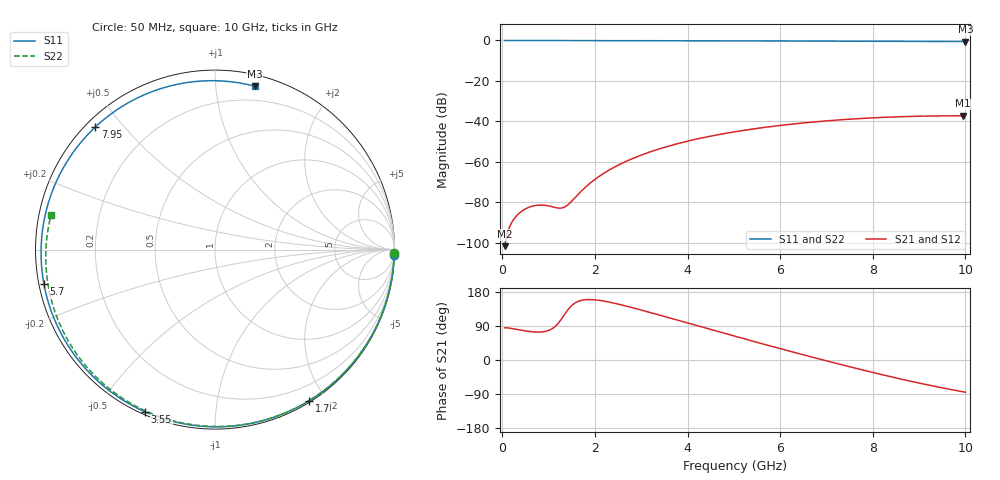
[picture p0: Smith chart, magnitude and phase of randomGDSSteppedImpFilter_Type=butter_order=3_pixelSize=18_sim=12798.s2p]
! freq	dB(S11)	phase(S11)	dB(S12)	phase(S12)
!  dB(S21)	phase(S21)	dB(S22)	phase(S22)
!S-par simulation data
#  GHz  S  DB  R 50
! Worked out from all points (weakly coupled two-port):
!   200 points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, 50 MHz to 10 GHz, reference 50 ohm
!   highest |S21| = -37.27 dB at 9.95 GHz (marker M1); lowest = -101.8 dB at 50 MHz (marker M2)
!   lowest |S11| = -0.6 dB at 10 GHz (marker M3), VSWR 30.80, Z = 4.24 + j63.4 ohm
!   |S11| at or under -10 dB: nowhere
!   |S22| runs from -0.6 to 0.0 dB; largest |S21 - S12| = 0
!   S11 on the Smith chart (normalised r, x): 50 MHz: 2, -67; 1.7 GHz: 0.02, -1.80; 3.55 GHz: 0.01, -0.66; 5.7 GHz: 0.01, -0.10; 7.95 GHz: 0.03, +0.42; 10 GHz: 0.08, +1.27
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0.05  -0.01 -1.7  -101.78 84.8  -101.78 84.8  -0.00 -1.1
0.7  -0.03 -24.5  -81.73 74.0  -81.73 74.0  -0.02 -15.5
1.45  -0.06 -50.0  -80.65 137.5  -80.65 137.5  -0.04 -31.8
1.5  -0.06 -51.6  -79.51 143.8  -79.51 143.8  -0.04 -32.9
1.7  -0.07 -58.2  -74.70 157.1  -74.70 157.1  -0.05 -37.2
1.75  -0.07 -59.8  -73.59 158.3  -73.59 158.3  -0.05 -38.2
2.05  -0.08 -69.3  -67.91 158.1  -67.91 158.1  -0.06 -44.6
2.45  -0.10 -81.6  -62.31 149.0  -62.31 149.0  -0.07 -52.9
2.9  -0.11 -95.0  -57.61 135.1  -57.61 135.1  -0.08 -62.1
3.4  -0.13 -109.2  -53.58 118.3  -53.58 118.3  -0.09 -72.0
3.55  -0.14 -113.3  -52.55 113.1  -52.55 113.1  -0.10 -75.0
4.3  -0.17 -133.3  -48.28 87.3  -48.28 87.3  -0.13 -89.4
5.05  -0.21 -152.5  -45.08 61.7  -45.08 61.7  -0.16 -103.2
5.7  -0.24 -168.7  -42.91 39.9  -42.91 39.9  -0.19 -114.9
6.2  -0.28 178.9  -41.54 23.5  -41.54 23.5  -0.22 -123.8
6.7  -0.31 166.4  -40.38 7.3  -40.38 7.3  -0.26 -132.5
7.3  -0.35 151.2  -39.27 -11.6  -39.27 -11.6  -0.30 -143.0
7.95  -0.40 134.3  -38.35 -31.4  -38.35 -31.4  -0.36 -154.3
8.35  -0.44 123.5  -37.94 -43.0  -37.94 -43.0  -0.40 -161.4
9.2  -0.50 99.7  -37.41 -66.0  -37.41 -66.0  -0.50 -176.7
9.95  -0.56 77.9  -37.27 -83.9  -37.27 -83.9  -0.59 169.1
10  -0.56 76.4  -37.27 -85.0  -37.27 -85.0  -0.60 168.1
